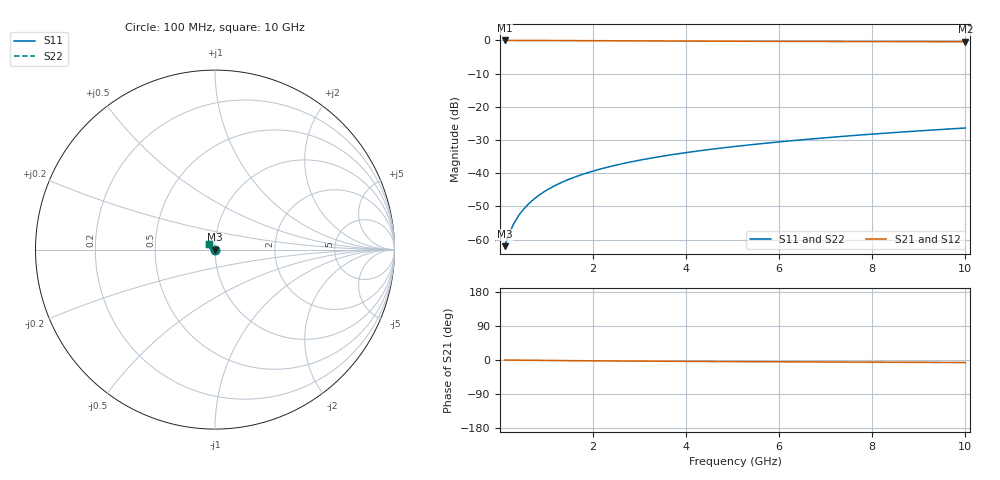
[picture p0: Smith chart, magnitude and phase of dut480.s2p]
! Touchstone file exported from HFSS 2024.1.0
!  File:  C:/UserFiles/LocalFiles/RDL_TSV_Batchsim/temp_TSV1_480_1779699417.aedt
!  Generated:  05:05:16 PM May 25, 2026
!  Design:  TSV1
!  Project:  temp_TSV1_480_1779699417
!  Setup:  Setup1
!  Solution:  Sweep
! Variables:
!  dtsv = 5.26um
!  hbump = 3um
!  htsv = 98.81um
!  lrdl = 252.1521522um
!  p = 40
!  p1 = 52.64um
!  t = 500um
!  trdl = 3um
!  wrdl = 24.89489489um
# GHz S MA R 50.000000
! Terminal data exported
! Port[1] = TSV22_T1
! Port[2] = TSV22_T2
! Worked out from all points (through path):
!   100 points, 100 MHz to 10 GHz, reference 50 ohm
!   highest |S21| = -0.01 dB at 100 MHz (marker M1); lowest = -0.4 dB at 10 GHz (marker M2)
!   lowest |S11| = -62.0 dB at 100 MHz (marker M3), VSWR 1.00, Z = 50.1 - j0.0569 ohm
!   |S11| at or under -10 dB: start of sweep to end of sweep
!   |S22| runs from -62.0 to -26.4 dB; largest |S21 - S12| = 2.9e-15
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0.1  0.0007949 -45.7  0.9994 -0.1  0.9994 -0.1  0.0007949 -45.7
! Gamma 0 0 0 0
! Port Impedance 50 0 50 0
0.2  0.001247 -67.1  0.9993 -0.2  0.9993 -0.2  0.001247 -67.1
0.3  0.001758 -78.2  0.9992 -0.4  0.9992 -0.4  0.001758 -78.2
0.4  0.002288 -85.4  0.999 -0.5  0.999 -0.5  0.002288 -85.4
0.5  0.002825 -90.8  0.9987 -0.6  0.9987 -0.6  0.002825 -90.8
0.6  0.003365 -95.3  0.9985 -0.7  0.9985 -0.7  0.003365 -95.3
0.7  0.003907 -99.2  0.9982 -0.8  0.9982 -0.8  0.003906 -99.2
0.9  0.004987 -106.1  0.9974 -1.1  0.9974 -1.1  0.004987 -106.1
1  0.005525 -109.3  0.9969 -1.2  0.9969 -1.2  0.005525 -109.3
1.2  0.006594 -115.1  0.996 -1.4  0.996 -1.4  0.006594 -115.1
1.5  0.008177 -123.2  0.9943 -1.7  0.9943 -1.7  0.008177 -123.2
1.8  0.009733 -130.7  0.9924 -2.0  0.9924 -2.0  0.009733 -130.7
2.1  0.01126 -137.7  0.9903 -2.3  0.9903 -2.3  0.01126 -137.7
2.5  0.01326 -146.3  0.9875 -2.6  0.9875 -2.6  0.01326 -146.3
2.9  0.01521 -154.2  0.9847 -2.9  0.9847 -2.9  0.01521 -154.2
3.4  0.0176 -163.1  0.9814 -3.2  0.9814 -3.2  0.0176 -163.1
4.2  0.02134 -175.6  0.9765 -3.7  0.9765 -3.7  0.02134 -175.6
5.1  0.02549 172.8  0.9718 -4.2  0.9718 -4.2  0.02549 172.8
5.9  0.02915 164.1  0.9684 -4.7  0.9684 -4.7  0.02915 164.1
6.7  0.03281 156.8  0.9656 -5.1  0.9656 -5.1  0.03281 156.8
8.4  0.04061 144.3  0.9609 -5.9  0.9609 -5.9  0.04061 144.3
10  0.04797 135.4  0.9578 -6.7  0.9578 -6.7  0.04797 135.4
